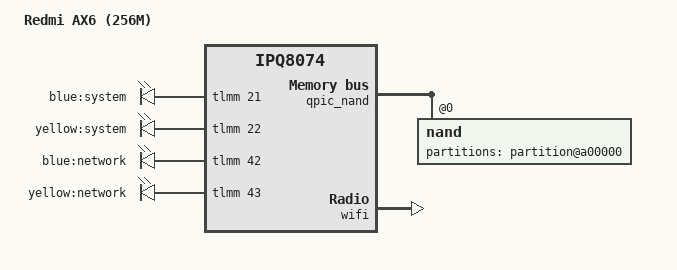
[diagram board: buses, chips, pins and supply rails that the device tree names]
// SPDX-License-Identifier: GPL-2.0-or-later OR MIT
/* Copyright (c) 2021, Zhijun You <hujy652@gmail.com> */

/dts-v1/;

#include "ipq8071-ax3600.dtsi"

/ {
	model = "Redmi AX6 (256M)";
	compatible = "redmi,ax6", "qcom,ipq8074";

	leds {
		compatible = "gpio-leds";

		led_system_blue: system-blue {
			label = "blue:system";
			gpios = <&tlmm 21 GPIO_ACTIVE_HIGH>;
		};

		led_system_yellow: system-yellow {
			label = "yellow:system";
			gpios = <&tlmm 22 GPIO_ACTIVE_HIGH>;
		};

		network-blue {
			label = "blue:network";
			gpios = <&tlmm 42 GPIO_ACTIVE_HIGH>;
		};

		network-yellow {
			label = "yellow:network";
			gpios = <&tlmm 43 GPIO_ACTIVE_HIGH>;
		};
	};
};

/* 只覆盖需要修改的分区大小 */
&qpic_nand {
	nand@0 {
		partitions {
			partition@a00000 {
				reg = <0xa00000 0x10000000>;
				compatible = "openwrt,ubi";
			};
		};
	};
};

/* 只覆盖WiFi配置 */
&wifi {
	qcom,ath11k-calibration-variant = "Redmi-AX6";
	qcom,ath11k-fw-memory-mode = <2>;
};
